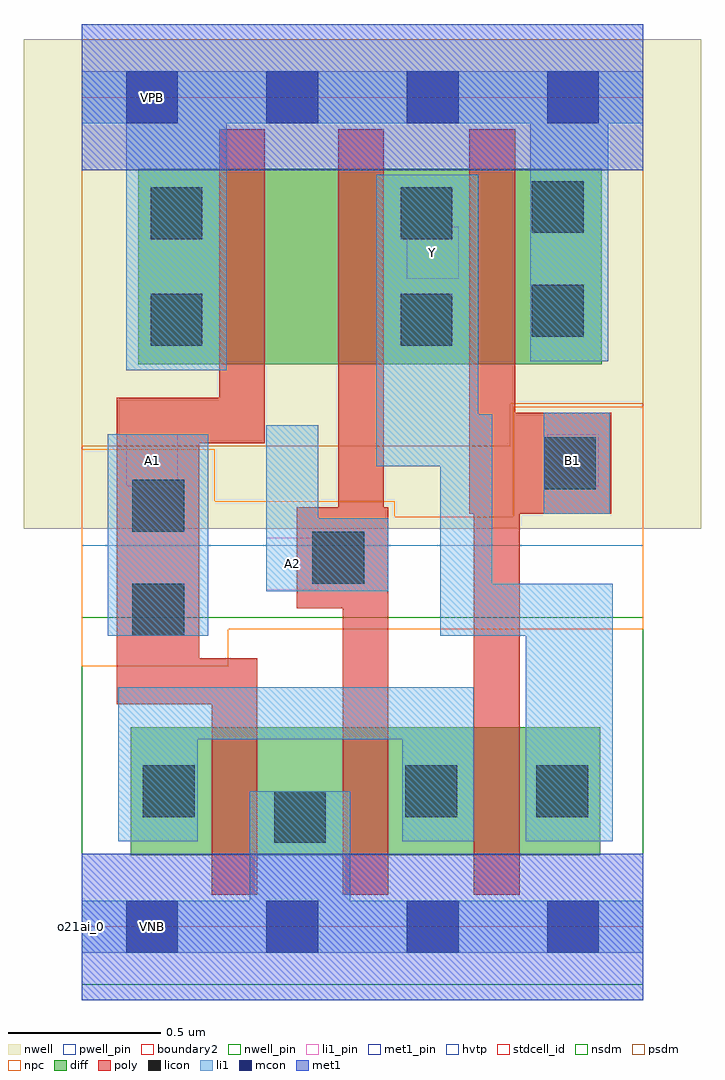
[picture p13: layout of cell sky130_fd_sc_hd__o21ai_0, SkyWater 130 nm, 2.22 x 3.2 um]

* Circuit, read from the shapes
.subckt sky130_fd_sc_hd__o21ai_0 A1 A2 B1 VGND VNB VPB VPWR Y
XM1 VGND A1 n1 VNB sky130_fd_pr__nfet_01v8 w=0.42 l=0.15
XM2 n1 A2 VGND VNB sky130_fd_pr__nfet_01v8 w=0.42 l=0.15
XM3 Y B1 n1 VNB sky130_fd_pr__nfet_01v8 w=0.42 l=0.15
XM4 n2 A1 VPWR VPB sky130_fd_pr__pfet_01v8_hvt w=0.64 l=0.15
XM5 Y A2 n2 VPB sky130_fd_pr__pfet_01v8_hvt w=0.64 l=0.15
XM6 VPWR B1 Y VPB sky130_fd_pr__pfet_01v8_hvt w=0.64 l=0.15
.ends

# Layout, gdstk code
import gdstk
lib = gdstk.Library(unit=1e-6, precision=1e-09)
def R(c, l, rs):  # rectangles x0, y0, x1, y1
    for r in rs: c.add(gdstk.rectangle(r[:2], r[2:], *l))
def A(c, l, x, y, w, h, nx, ny, dx, dy):  # array of equal rectangles
    R(c, l, [(x+i*dx, y+j*dy, x+i*dx+w, y+j*dy+h) for i in range(nx) for j in range(ny)])
def P(c, l, *ps):  # polygons
    for p in ps: c.add(gdstk.Polygon(p, *l))
nwell_pin = (64, 16)
nwell = (64, 20)
diff = (65, 20)
poly = (66, 20)
licon = (66, 44)
li1_pin = (67, 16)
li1 = (67, 20)
mcon = (67, 44)
met1_pin = (68, 16)
met1 = (68, 20)
hvtp = (78, 44)
stdcell_id = (81, 4)
nsdm = (93, 44)
psdm = (94, 20)
npc = (95, 20)
pwell_pin = (122, 16)
boundary2 = (236, 0)

sky130_fd_sc_hd__o21ai_0 = lib.new_cell('sky130_fd_sc_hd__o21ai_0')
R(sky130_fd_sc_hd__o21ai_0, nwell_pin, [(0.145,2.635,0.315,2.805)])
R(sky130_fd_sc_hd__o21ai_0, nwell, [(-0.19,1.305,2.03,2.91)])
R(sky130_fd_sc_hd__o21ai_0, diff, [(0.16,0.235,1.7,0.655), (0.185,1.845,1.705,2.485)])
P(sky130_fd_sc_hd__o21ai_0, poly, [(0.425,0.105),(0.425,0.73),(0.115,0.73),(0.115,1.735),(0.45,1.735),(0.45,2.615),(0.6,2.615),(0.6,1.585),(0.385,1.585),(0.385,0.88),(0.575,0.88),(0.575,0.105)],
  [(0.855,0.105),(0.855,1.045),(0.705,1.045),(0.705,1.375),(0.84,1.375),(0.84,2.615),(0.99,2.615),(0.99,1.375),(1.005,1.375),(1.005,0.105)],
  [(1.285,0.105),(1.285,1.355),(1.27,1.355),(1.27,2.615),(1.42,2.615),(1.42,1.685),(1.735,1.685),(1.735,1.355),(1.435,1.355),(1.435,0.105)])
R(sky130_fd_sc_hd__o21ai_0, licon, [(0.63,0.275,0.8,0.445), (0.2,0.36,0.37,0.53), (1.06,0.36,1.23,0.53), (1.49,0.36,1.66,0.53), (0.165,0.955,0.335,1.125), (0.755,1.125,0.925,1.295), (0.165,1.295,0.335,1.465), (1.515,1.435,1.685,1.605), (0.225,1.905,0.395,2.075), (1.045,1.905,1.215,2.075), (1.475,1.935,1.645,2.105), (0.225,2.255,0.395,2.425), (1.045,2.255,1.215,2.425), (1.475,2.275,1.645,2.445)])
R(sky130_fd_sc_hd__o21ai_0, li1_pin, [(0.605,1.105,0.775,1.275), (0.145,1.445,0.315,1.615), (1.525,1.445,1.695,1.615), (1.065,2.125,1.235,2.295)])
R(sky130_fd_sc_hd__o21ai_0, li1, [(0.085,0.955,0.415,1.615), (1.515,1.355,1.73,1.685)])
P(sky130_fd_sc_hd__o21ai_0, li1, [(0.605,1.1),(0.605,1.645),(0.775,1.645),(0.775,1.34),(1.005,1.34),(1.005,1.1)],
  [(0.12,0.28),(0.12,0.785),(1.285,0.785),(1.285,0.28),(1.05,0.28),(1.05,0.615),(0.38,0.615),(0.38,0.28)],
  [(0,-0.085),(0,0.085),(0.55,0.085),(0.55,0.445),(0.88,0.445),(0.88,0.085),(1.84,0.085),(1.84,-0.085)],
  [(0.145,1.825),(0.145,2.635),(0,2.635),(0,2.805),(1.84,2.805),(1.84,2.635),(1.725,2.635),(1.725,1.855),(1.47,1.855),(1.47,2.635),(0.475,2.635),(0.475,1.825)],
  [(1.455,0.28),(1.455,0.955),(1.175,0.955),(1.175,1.51),(0.965,1.51),(0.965,2.465),(1.3,2.465),(1.3,1.68),(1.345,1.68),(1.345,1.125),(1.74,1.125),(1.74,0.28)])
A(sky130_fd_sc_hd__o21ai_0, mcon, 0.145, -0.085, 0.17, 0.17, 4, 2, 0.46, 2.72)
R(sky130_fd_sc_hd__o21ai_0, met1_pin, [(0.145,-0.085,0.315,0.085), (0.145,2.635,0.315,2.805)])
R(sky130_fd_sc_hd__o21ai_0, hvtp, [(0,1.25,1.84,2.72)])
R(sky130_fd_sc_hd__o21ai_0, stdcell_id, [(0,0,1.84,2.72)])
R(sky130_fd_sc_hd__o21ai_0, nsdm, [(0,-0.19,1.84,1.015)])
P(sky130_fd_sc_hd__o21ai_0, psdm, [(0,1.575),(0,2.91),(1.84,2.91),(1.84,1.715),(1.405,1.715),(1.405,1.575)])
P(sky130_fd_sc_hd__o21ai_0, npc, [(0,0.855),(0,1.565),(0.435,1.565),(0.435,1.395),(1.025,1.395),(1.025,1.345),(1.415,1.345),(1.415,1.705),(1.84,1.705),(1.84,0.975),(0.48,0.975),(0.48,0.855)])
R(sky130_fd_sc_hd__o21ai_0, pwell_pin, [(0.145,-0.085,0.315,0.085)])
R(sky130_fd_sc_hd__o21ai_0, boundary2, [(0,0,1.84,2.72)])
sky130_fd_sc_hd__o21ai_0.add(gdstk.FlexPath([(0,2.72),(1.84,2.72)], 0.48, ends="flush", simple_path=True, layer=68, datatype=20))  # met1
sky130_fd_sc_hd__o21ai_0.add(gdstk.FlexPath([(0,0),(1.84,0)], 0.48, ends="flush", simple_path=True, layer=68, datatype=20))  # met1
sky130_fd_sc_hd__o21ai_0.add(gdstk.Label('Y', (1.15,2.21), layer=67, texttype=5))
sky130_fd_sc_hd__o21ai_0.add(gdstk.Label('B1', (1.61,1.53), layer=67, texttype=5))
sky130_fd_sc_hd__o21ai_0.add(gdstk.Label('A2', (0.69,1.19), layer=67, texttype=5))
sky130_fd_sc_hd__o21ai_0.add(gdstk.Label('A1', (0.23,1.53), layer=67, texttype=5))
sky130_fd_sc_hd__o21ai_0.add(gdstk.Label('VNB', (0.23,0), layer=64, texttype=59))
sky130_fd_sc_hd__o21ai_0.add(gdstk.Label('VPB', (0.23,2.72), layer=64, texttype=5))
sky130_fd_sc_hd__o21ai_0.add(gdstk.Label('VGND', (0.23,0), layer=68, texttype=5))
sky130_fd_sc_hd__o21ai_0.add(gdstk.Label('VPWR', (0.23,2.72), layer=68, texttype=5))
sky130_fd_sc_hd__o21ai_0.add(gdstk.Label('o21ai_0', (0,0), layer=83, texttype=44))

lib.write_gds('sky130_fd_sc_hd__o21ai_0.gds')
